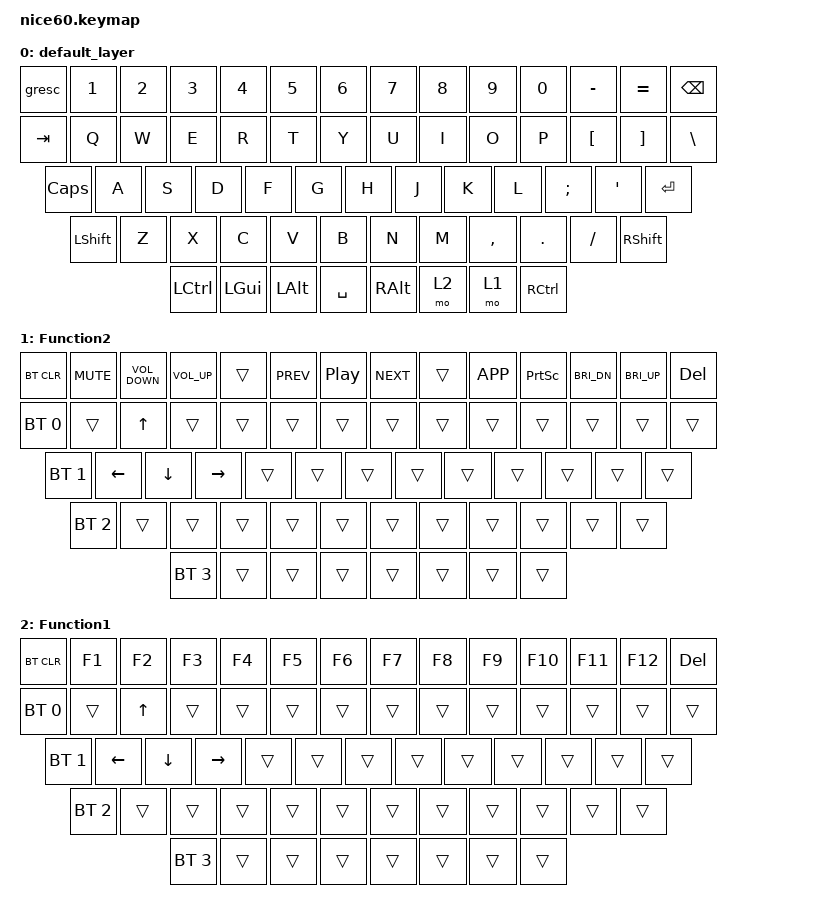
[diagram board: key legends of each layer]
/*
 * Copyright (c) 2021 Nick Winans
 *
 * SPDX-License-Identifier: MIT
 */

#include <behaviors.dtsi>
#include <dt-bindings/zmk/keys.h>
#include <dt-bindings/zmk/rgb.h>
#include <dt-bindings/zmk/bt.h>

/ {
    keymap {
        compatible = "zmk,keymap";

        default_layer {
// ------------------------------------------------------------------------------------------
// | ESC |  1  |  2  |  3  |  4  |  5  |  6  |  7  |  8  |  9  |  0  |  -  |  =  |   BKSP   |
// | TAB  |  Q  |  W  |  E  |  R  |  T  |  Y  |  U  |  I  |  O  |  P  |  [  |  ]  |   "|"   |
// | CAPS  |  A  |  S  |  D  |  F  |  G  |  H  |  J  |  K  |  L  |  ;  |  '  |     ENTER    |
// |  SHIFT  |  Z  |  X  |  C  |  V  |  B  |  N  |  M  |  ,  |  .  |  /  |      SHIFT       |
// |  CTL  |  WIN  |  ALT  |            SPACE              |  ALT  |  FN(1)  |  FN(2) |  CTL  |
// ------------------------------------------------------------------------------------------
            bindings = <
    &gresc  &kp N1 &kp N2 &kp N3 &kp N4 &kp N5 &kp N6 &kp N7 &kp N8 &kp N9 &kp N0 &kp MINUS &kp EQUAL  &kp BSPC
    &kp TAB  &kp Q  &kp W  &kp E  &kp R  &kp T  &kp Y  &kp U  &kp I  &kp O  &kp P  &kp LBKT  &kp RBKT  &kp BSLH
    &kp CLCK  &kp A  &kp S  &kp D  &kp F  &kp G  &kp H  &kp J  &kp K  &kp L  &kp SEMI &kp SQT           &kp RET
    &kp LSHFT   &kp Z  &kp X  &kp C  &kp V  &kp B  &kp N  &kp M  &kp COMMA &kp DOT &kp FSLH           &kp RSHFT
    &kp LCTRL &kp LGUI &kp LALT             &kp SPACE                     &kp RALT  &mo 2  &mo 1   &kp RCTRL
            >;
        };

         Function2 {
// ------------------------------------------------------------------------------------------------
// | BT CLR| Mute | Vol- | Vol+ |   |PREV| play | next  |  | APP MENU | PSCRN  | BRI - | BRI + | DEL |
// |  BT 1   |   |  UP |   |       |       |       |       |   |     |    |     |     |           |
// |   BT 2   | LT |  DN  | RT |       |        |      |       |   |     |   |     |              |
// |    BT 3     |     |      |      |     |     |     |     |     |     |     |                  |
// |   BT 4  |      |      |                                    |         |       |       |       |
// ------------------------------------------------------------------------------------------------
            bindings = <
    &bt BT_CLR    &kp C_MUTE    &kp C_VOLUME_DOWN    &kp C_VOL_UP    &trans    &kp C_PREV    &kp C_PLAY_PAUSE    &kp C_NEXT    &trans    &kp K_APP    &kp PSCRN    &kp C_BRI_DN    &kp C_BRI_UP    &kp DEL
    &bt BT_SEL 0  &trans        &kp UP    &trans  &trans &trans &trans  &trans  &trans   &trans   &trans   &trans  &trans          &trans
    &bt BT_SEL 1   &kp LEFT  &kp DOWN  &kp RIGHT &trans &trans &trans &trans &trans   &trans   &trans   &trans        &trans
    &bt BT_SEL 2    &trans    &trans    &trans   &trans          &trans          &trans          &trans          &trans   &trans   &trans                          &trans
    &bt BT_SEL 3  &trans   &trans                           &trans                                      &trans      &trans      &trans               &trans
            >;
        };
        Function1 {
// ------------------------------------------------------------------------------------------------
// | BT CLR |  F1  |  F2  |  F3  |  F4  |  F5  |  F6  |  F7 |  F8 |  F9  |  F10  |  F11 |  F12 | DEL |
// |  BT 1   |   |  UP |   |       |       |       |       |   |     |    |     |     |           |
// |   BT 2   | LT |  DN  | RT |       |        |      |       |   |     |   |     |              |
// |    BT 3     |     |      |      |     |     |     |     |     |     |     |                  |
// |   BT 4  |      |      |                                    |         |       |       |       |
// ------------------------------------------------------------------------------------------------
            bindings = <
    &bt BT_CLR    &kp F1    &kp F2   &kp F3   &kp F4    &kp F5    &kp F6    &kp F7    &kp F8    &kp F9    &kp F10    &kp F11    &kp F12    &kp DEL
    &bt BT_SEL 0  &trans        &kp UP    &trans  &trans &trans &trans  &trans  &trans   &trans   &trans   &trans  &trans          &trans
    &bt BT_SEL 1   &kp LEFT  &kp DOWN  &kp RIGHT &trans &trans &trans &trans &trans   &trans   &trans   &trans        &trans
    &bt BT_SEL 2    &trans    &trans    &trans   &trans          &trans          &trans          &trans          &trans   &trans   &trans                          &trans
    &bt BT_SEL 3  &trans   &trans                           &trans                                      &trans      &trans      &trans               &trans
            >;
        };
    };
};
